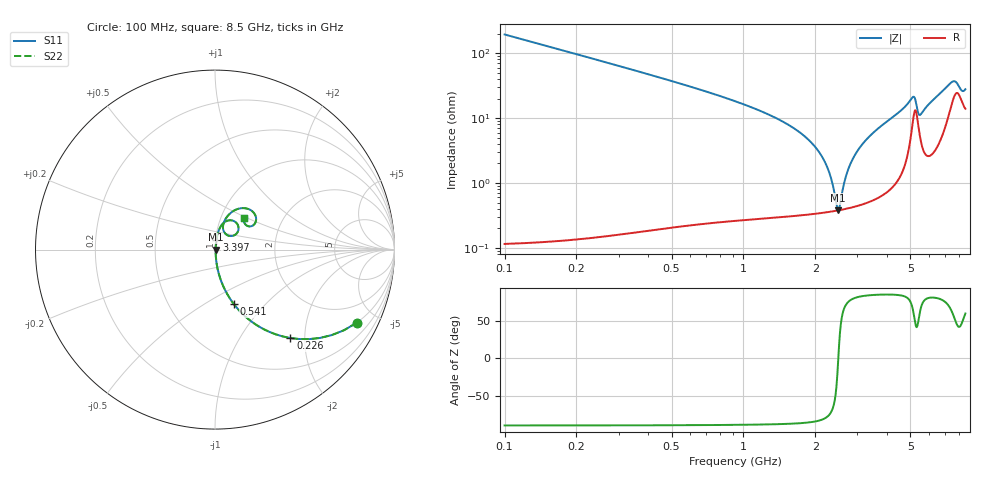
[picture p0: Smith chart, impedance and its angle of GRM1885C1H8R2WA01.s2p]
!Murata Part Number: GRM1885C1H8R2WA01
!These Parameters are Measured in Series Mode Connection
!Data Generated on Mar 30, 2021
!  o--ll--o
!Port1  Port2
!  o------o
!Operation Temp=25[degC], DC Bias Voltage=0[V]
!Freq. Start=100[MHz] Stop=9[GHz] 401[Steps]
# Hz S RI R 50
!Freq.(Hz) S11(Real) S11(Imag) S21(Real) S21(Imag) S12(Real) S12(Imag) S22(Real) S22(Imag)
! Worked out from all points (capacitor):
!   401 points, 100 MHz to 8.5 GHz, reference 50 ohm
!   read as one part in series: C = 8.2 pF near 142 MHz
!   lowest |Z| = 380 mohm at 2.494 GHz (marker M1)
!   series resonance near 2.496 GHz, so ESL is about 500 pH
!   S11 on the Smith chart (normalised r, x): 100 MHz: 1.00, -3.88; 226 MHz: 1.00, -1.70; 541 MHz: 1.00, -0.68; 3.397 GHz: 1.01, +0.11; 8.5 GHz: 1.28, +0.48
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1e8  0.7895 -0.4074  0.2105 0.4074  0.2105 0.4074  0.7895 -0.4074
2.26e8  0.4204 -0.4928  0.5796 0.4928  0.5796 0.4928  0.4204 -0.4928
3.52e8  0.2265 -0.417  0.7735 0.417  0.7735 0.417  0.2265 -0.417
5.41e8  0.1061 -0.3049  0.8939 0.3049  0.8939 0.3049  0.1061 -0.3049
1.507e9  0.00978 -0.0818  0.9902 0.0818  0.9902 0.0818  0.00978 -0.0818
1.885e9  0.00529 -0.0448  0.9947 0.0448  0.9947 0.0448  0.00529 -0.0448
2.137e9  0.00408 -0.0248  0.9959 0.0248  0.9959 0.0248  0.00408 -0.0248
2.305e9  0.00377 -0.0128  0.9962 0.0128  0.9962 0.0128  0.00377 -0.0128
2.494e9  0.00378 -0.000152  0.9962 0.000152  0.9962 0.000152  0.00378 -0.000152
2.536e9  0.00383 0.00254  0.9962 -0.00254  0.9962 -0.00254  0.00383 0.00254
2.704e9  0.00419 0.013  0.9958 -0.013  0.9958 -0.013  0.00419 0.013
2.914e9  0.00494 0.0255  0.9951 -0.0255  0.9951 -0.0255  0.00494 0.0255
3.397e9  0.00798 0.0529  0.992 -0.0529  0.992 -0.0529  0.00798 0.0529
4.3e9  0.0207 0.1057  0.9793 -0.1057  0.9793 -0.1057  0.0207 0.1057
5.119e9  0.1079 0.1577  0.8921 -0.1577  0.8921 -0.1577  0.1079 0.1577
5.224e9  0.1314 0.1178  0.8686 -0.1178  0.8686 -0.1178  0.1314 0.1178
5.434e9  0.0681 0.0807  0.9319 -0.0807  0.9319 -0.0807  0.0681 0.0807
5.707e9  0.0444 0.1212  0.9556 -0.1212  0.9556 -0.1212  0.0444 0.1212
7.114e9  0.1432 0.2302  0.8568 -0.2302  0.8568 -0.2302  0.1432 0.2302
7.723e9  0.2291 0.1739  0.7709 -0.1739  0.7709 -0.1739  0.2291 0.1739
8.185e9  0.1784 0.1331  0.8216 -0.1331  0.8216 -0.1331  0.1784 0.1331
8.5e9  0.1597 0.1776  0.8403 -0.1776  0.8403 -0.1776  0.1597 0.1776
